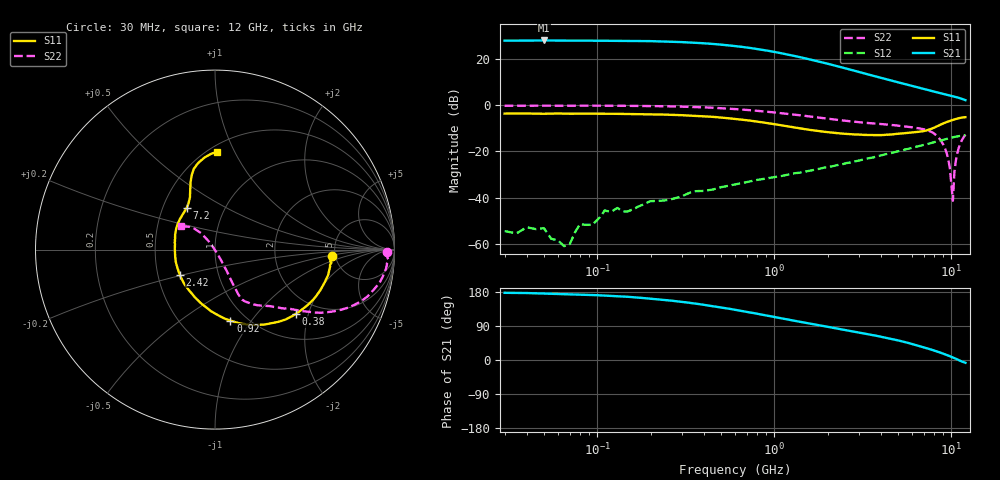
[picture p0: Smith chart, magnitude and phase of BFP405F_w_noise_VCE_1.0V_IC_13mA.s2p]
! Infineon Technologies  Discrete & RF Semiconductors
! BFP405F
! VCE =  1.0 V,  IC =  13 mA
! Common Emitter S-Parameters:  Nov 2015
# GHz  S  MA  R  50
!  f  S11  S21  S12  S22
! GHz  MAG  ANG  MAG  ANG  MAG  ANG  MAG  ANG
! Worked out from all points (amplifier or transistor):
!   239 points, 30 MHz to 12 GHz, reference 50 ohm
!   highest |S21| = 27.8 dB at 50 MHz (marker M1)
!   |S21| within 3 dB of that: start of sweep to 695.8 MHz
!   unconditionally stable (mu >= 1): 57.16 MHz to 67.69 MHz; 1.78 GHz to end of sweep
!   at 300 MHz: K = 0.24, MSG = 33.3 dB, |S12| = -39.4 dB
!   at 1.88 GHz: K = 1.02, MAG = 21.8 dB, |S12| = -27.2 dB
!   at 12 GHz: K = 1.40, MAG = 3.7 dB, |S12| = -13.0 dB
!   lowest NFmin = 1.86 dB at 450 MHz
!   S11 on the Smith chart (normalised r, x): 30 MHz: 4.66, -0.55; 380 MHz: 1.55, -1.66; 920 MHz: 0.84, -0.80; 2.42 GHz: 0.65, -0.19; 7.2 GHz: 0.66, +0.33; 12 GHz: 0.56, +0.86
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0.03  0.6508 -3.0  24.28 177.3  0.0019 136.3  0.9579 -0.7
0.05  0.6448 -5.9  24.57 175.3  0.0022 109.0  0.9641 -2.0
0.065  0.6496 -6.9  24.37 173.9  0.0009 58.9  0.9611 -2.4
0.085  0.6477 -9.0  24.29 172.1  0.0026 107.0  0.9658 -3.5
0.15  0.639 -16.2  24.08 166.7  0.0051 103.5  0.9556 -6.9
0.24  0.6185 -25.4  23.27 158.4  0.0087 81.9  0.9372 -11.0
0.3  0.6012 -31.0  22.66 153.4  0.0107 81.1  0.9184 -13.4
0.38  0.5747 -38.6  21.61 147.2  0.0139 77.8  0.8937 -16.5
0.46  0.5501 -45.4  20.55 141.4  0.0154 72.4  0.8661 -19.1
0.6  0.4997 -56.8  18.61 132.4  0.0193 72.7  0.815 -23.2
0.7  0.468 -63.8  17.35 126.9  0.0217 67.5  0.7803 -25.4
0.92  0.4046 -77.8  14.75 116.6  0.0263 65.9  0.7115 -29.4
1.3  0.3252 -98.7  11.39 103.3  0.0336 65.2  0.6172 -34.1
1.64  0.2846 -114.3  9.312 94.9  0.0391 63.6  0.5567 -37.0
2.42  0.241 -144.6  6.413 80.6  0.0526 62.3  0.4635 -43.7
4.5  0.23 166.5  3.414 56.6  0.0902 56.6  0.3733 -54.9
7.2  0.2807 124.2  2.14 31.5  0.1409 45.0  0.2883 -62.3
9.2  0.4133 108.9  1.695 15.1  0.1809 34.3  0.1161 -61.0
9.8  0.4519 105.8  1.601 10.1  0.1927 30.9  0.0435 -60.3
10.2  0.4752 103.2  1.542 6.7  0.2004 28.4  0.0086 134.4
10.6  0.4971 100.0  1.484 3.3  0.2072 25.8  0.0629 127.5
12  0.5435 88.6  1.271 -7.3  0.2246 18.3  0.2293 145.0
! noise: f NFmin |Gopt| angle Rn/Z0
0.45  1.86  0.14  4  0.33
0.9  1.88  0.13  7  0.32
1.5  1.93  0.11  11  0.22
1.9  1.96  0.1  17  0.27
2.4  2.11  0.08  24  0.33
3  2.19  0.07  32  0.36
3.5  2.24  0.04  37  0.47
4.5  2.43  0.04  -69  0.18
5.5  2.69  0.13  -87  0.06
